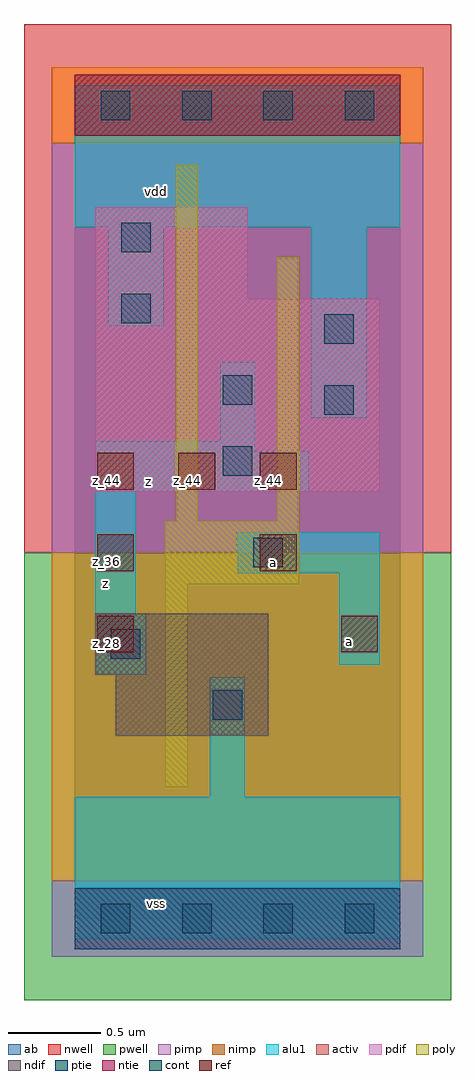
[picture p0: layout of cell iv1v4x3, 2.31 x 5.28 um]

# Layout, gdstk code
import gdstk
lib = gdstk.Library(unit=1e-6, precision=2.5e-09)
def R(c, l, rs):  # rectangles x0, y0, x1, y1
    for r in rs: c.add(gdstk.rectangle(r[:2], r[2:], *l))
def A(c, l, x, y, w, h, nx, ny, dx, dy):  # array of equal rectangles
    R(c, l, [(x+i*dx, y+j*dy, x+i*dx+w, y+j*dy+h) for i in range(nx) for j in range(ny)])
ndif = (3, 0)
pdif = (4, 0)
ntie = (5, 0)
ptie = (6, 0)
ref = (24, 0)
cont = (25, 0)
pwell = (41, 0)
nwell = (42, 0)
activ = (43, 0)
pimp = (44, 0)
nimp = (45, 0)
poly = (46, 0)
alu1 = (49, 0)
ab = (63, 0)

iv1v4x3 = lib.new_cell('iv1v4x3')
R(iv1v4x3, ndif, [(0.22,0.99,1.045,1.32), (0.11,1.32,1.045,1.65)])
R(iv1v4x3, pdif, [(0.11,2.31,1.65,3.355), (0.11,3.355,0.935,3.85)])
R(iv1v4x3, ntie, [(0,4.235,1.76,4.565)])
R(iv1v4x3, ptie, [(0,-0.165,1.76,0.165)])
A(iv1v4x3, ref, 0.12, 2.32, 0.2, 0.2, 3, 1, 0.44, 0)
R(iv1v4x3, ref, [(0.12,1.44,0.32,1.64), (1.44,1.44,1.64,1.64), (0.12,1.88,0.32,2.08), (1,1.88,1.2,2.08)])
A(iv1v4x3, cont, 0.14, -0.08, 0.16, 0.16, 4, 2, 0.44, 4.4)
R(iv1v4x3, cont, [(0.745,1.075,0.905,1.235), (0.195,1.405,0.355,1.565), (0.965,1.9,1.125,2.06), (0.8,2.395,0.96,2.555), (1.35,2.725,1.51,2.885), (0.8,2.78,0.96,2.94), (1.35,3.11,1.51,3.27), (0.25,3.22,0.41,3.38), (0.25,3.605,0.41,3.765)])
R(iv1v4x3, pwell, [(-0.275,-0.44,2.035,1.98)])
R(iv1v4x3, nwell, [(-0.275,1.98,2.035,4.84)])
R(iv1v4x3, activ, [(0,-0.165,1.76,0.165), (0.22,0.99,1.045,1.32), (0.11,1.32,1.045,1.65), (0.11,2.31,1.65,3.355), (0.11,3.355,0.935,3.85), (0,4.235,1.76,4.565)])
R(iv1v4x3, pimp, [(-0.125,-0.205,1.885,0.205), (-0.125,1.98,1.885,4.195)])
R(iv1v4x3, nimp, [(-0.125,0.205,1.885,1.98), (-0.125,4.195,1.885,4.605)])
R(iv1v4x3, poly, [(0.49,0.71,0.61,1.81), (0.49,1.81,1.215,2.15), (0.545,2.15,0.665,4.075), (1.095,2.15,1.215,3.58)])
R(iv1v4x3, alu1, [(0,-0.11,1.76,0.66), (0.73,0.66,0.92,1.305), (0.11,1.32,0.385,1.65), (1.43,1.375,1.65,1.87), (0.11,1.65,0.33,2.31), (0.88,1.87,1.65,2.09), (0.11,2.31,1.265,2.53), (0.11,2.53,0.975,2.585), (0.785,2.585,0.975,3.01), (1.28,2.71,1.58,3.74), (0.18,3.205,0.48,3.74), (0,3.74,1.76,4.51)])
R(iv1v4x3, ab, [(0,0,1.76,4.4)])
iv1v4x3.add(gdstk.Label('vss', (0.44,0.0825), layer=49, texttype=0))
iv1v4x3.add(gdstk.Label('a', (1.485,1.4975), layer=49, texttype=0))
iv1v4x3.add(gdstk.Label('a', (1.0725,1.925), layer=49, texttype=0))
iv1v4x3.add(gdstk.Label('z', (0.165,1.815), layer=49, texttype=0))
iv1v4x3.add(gdstk.Label('z', (0.3975,2.365), layer=49, texttype=0))
iv1v4x3.add(gdstk.Label('vdd', (0.44,3.9325), layer=49, texttype=0))
iv1v4x3.add(gdstk.Label('z_44', (0.61,2.37), layer=24, texttype=0))
iv1v4x3.add(gdstk.Label('a_36', (1.05,1.93), layer=24, texttype=0))
iv1v4x3.add(gdstk.Label('z_44', (1.05,2.37), layer=24, texttype=0))
iv1v4x3.add(gdstk.Label('a_28', (1.49,1.49), layer=24, texttype=0))
iv1v4x3.add(gdstk.Label('z_28', (0.17,1.49), layer=24, texttype=0))
iv1v4x3.add(gdstk.Label('z_36', (0.17,1.93), layer=24, texttype=0))
iv1v4x3.add(gdstk.Label('z_44', (0.17,2.37), layer=24, texttype=0))

lib.write_gds('iv1v4x3.gds')
